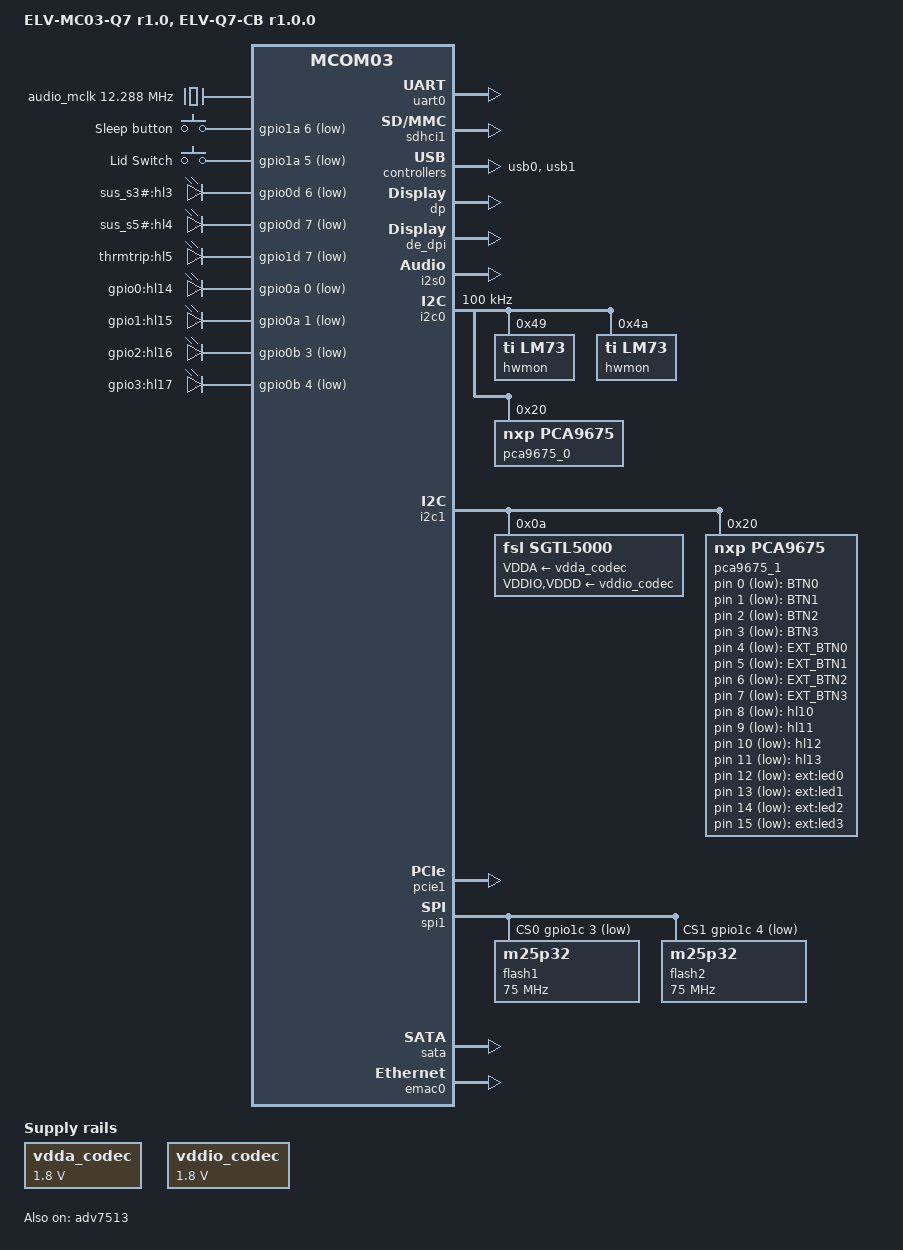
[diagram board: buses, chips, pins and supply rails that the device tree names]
// SPDX-License-Identifier: GPL-2.0+
/*
 * Copyright 2023 RnD Center "ELVEES", JSC
 */

/dts-v1/;

#include <dt-bindings/gpio/gpio.h>
#include <dt-bindings/input/linux-event-codes.h>

#include "mcom03-elvmc03q7-r1.0.dtsi"

/ {
	model = "ELV-MC03-Q7 r1.0, ELV-Q7-CB r1.0.0";
	compatible = "elvees,elvmc03q7-r1.0-elvq7cb-r1.0.0",
		     "elvees,elvmc03q7-elvq7cb",
		     "elvees,elvq7cb-r1.0.0",
		     "elvees,elvq7cb",
		     "elvees,elvmc03q7-r1.0",
		     "elvees,elvmc03q7",
		     "elvees,mcom03";

	chosen {
		stdout-path = "serial0:115200n8";
	};

	vdda_codec: vdda-codec {
		compatible = "regulator-fixed";
		regulator-name = "vdda-codec";
		regulator-min-microvolt = <1800000>;
		regulator-max-microvolt = <1800000>;
		regulator-always-on;
	};

	vddio_codec: vddio-codec {
		compatible = "regulator-fixed";
		regulator-name = "vddio-codec";
		regulator-min-microvolt = <1800000>;
		regulator-max-microvolt = <1800000>;
		regulator-always-on;
	};

	/* "G1" oscillator */
	audio_mclk: audio_mclk {
		#clock-cells = <0>;
		compatible = "fixed-clock";
		clock-frequency = <12288000>;
	};

	/* TRS (3.5mm jack) connected to SGTL5000 codec.
	   SGTL5000 connected to MCom-03 I2S0 as I2S slave.
	   */
	elvq7cb_i2s_asound {
		compatible = "simple-audio-card";
		simple-audio-card,name = "analog-audio";
		simple-audio-card,format = "i2s";
		simple-audio-card,bitclock-master = <&dailink0_master>;
		simple-audio-card,frame-master = <&dailink0_master>;
		simple-audio-card,routing =
			"MIC_IN", "Mic Bias";

		dailink0_master: simple-audio-card,cpu {
			sound-dai = <&i2s0>;
		};

		simple-audio-card,codec {
			sound-dai = <&sgtl5000>;
		};
	};

	q7cb-gpio-keys {
		compatible = "gpio-keys";
		pinctrl-0 = <&sleep_lid_cfg_default>;
		pinctrl-names = "default";
		poll-interval = <1000>;

		sleep-button {
			gpios = <&gpio1a 6 GPIO_ACTIVE_LOW>;
			label = "Sleep button";
			linux,code = <KEY_SLEEP>;
		};

		lid-switch {
			gpios = <&gpio1a 5 GPIO_ACTIVE_LOW>;
			label = "Lid Switch";
			linux,code = <SW_LID>;
			linux,input-type = <EV_SW>;
			wakeup-source;
		};
	};

	q7cb-leds {
		compatible = "gpio-leds";

		hl3 {
			label = "sus_s3#:hl3";
			gpios = <&gpio0d 6 GPIO_ACTIVE_LOW>;
			default-state = "off";
		};

		hl4 {
			label = "sus_s5#:hl4";
			gpios = <&gpio0d 7 GPIO_ACTIVE_LOW>;
			default-state = "off";
		};

		hl5 {
			label = "thrmtrip:hl5";
			gpios = <&gpio1d 7 GPIO_ACTIVE_LOW>;
			default-state = "off";
		};

		hl14 {
			label = "gpio0:hl14";
			gpios = <&gpio0a 0 GPIO_ACTIVE_LOW>;
			default-state = "off";
		};

		hl15 {
			label = "gpio1:hl15";
			gpios = <&gpio0a 1 GPIO_ACTIVE_LOW>;
			default-state = "off";
		};

		hl16 {
			label = "gpio2:hl16";
			gpios = <&gpio0b 3 GPIO_ACTIVE_LOW>;
			default-state = "off";
		};

		hl17 {
			label = "gpio3:hl17";
			gpios = <&gpio0b 4 GPIO_ACTIVE_LOW>;
			default-state = "off";
		};
	};

	pca9675-keys {
		compatible = "gpio-keys-polled";
		poll-interval = <100>;
		autorepeat;

		btn0 {
			gpios = <&pca9675_1 0 GPIO_ACTIVE_LOW>;
			label = "BTN0";
			linux,code = <BTN_TRIGGER_HAPPY1>;
		};

		btn1 {
			gpios = <&pca9675_1 1 GPIO_ACTIVE_LOW>;
			label = "BTN1";
			linux,code = <BTN_TRIGGER_HAPPY2>;
		};

		btn2 {
			gpios = <&pca9675_1 2 GPIO_ACTIVE_LOW>;
			label = "BTN2";
			linux,code = <BTN_TRIGGER_HAPPY3>;
		};

		btn3 {
			gpios = <&pca9675_1 3 GPIO_ACTIVE_LOW>;
			label = "BTN3";
			linux,code = <BTN_TRIGGER_HAPPY4>;
		};

		ext_btn0 {
			gpios = <&pca9675_1 4 GPIO_ACTIVE_LOW>;
			label = "EXT_BTN0";
			linux,code = <BTN_TRIGGER_HAPPY5>;
		};

		ext_btn1 {
			gpios = <&pca9675_1 5 GPIO_ACTIVE_LOW>;
			label = "EXT_BTN1";
			linux,code = <BTN_TRIGGER_HAPPY6>;
		};

		ext_btn2 {
			gpios = <&pca9675_1 6 GPIO_ACTIVE_LOW>;
			label = "EXT_BTN2";
			linux,code = <BTN_TRIGGER_HAPPY7>;
		};

		ext_btn3 {
			gpios = <&pca9675_1 7 GPIO_ACTIVE_LOW>;
			label = "EXT_BTN3";
			linux,code = <BTN_TRIGGER_HAPPY8>;
		};
	};

	pca9675-leds {
		compatible = "gpio-leds";

		hl10 {
			gpios = <&pca9675_1 8 GPIO_ACTIVE_LOW>;
			default-state = "off";
		};

		hl11 {
			gpios = <&pca9675_1 9 GPIO_ACTIVE_LOW>;
			default-state = "off";
		};

		hl12 {
			gpios = <&pca9675_1 10 GPIO_ACTIVE_LOW>;
			default-state = "off";
		};

		hl13 {
			gpios = <&pca9675_1 11 GPIO_ACTIVE_LOW>;
			default-state = "off";
		};

		ext_led0 {
			label = "ext:led0";
			gpios = <&pca9675_1 12 GPIO_ACTIVE_LOW>;
			default-state = "off";
		};

		ext_led1 {
			label = "ext:led1";
			gpios = <&pca9675_1 13 GPIO_ACTIVE_LOW>;
			default-state = "off";
		};

		ext_led2 {
			label = "ext:led2";
			gpios = <&pca9675_1 14 GPIO_ACTIVE_LOW>;
			default-state = "off";
		};

		ext_led3 {
			label = "ext:led3";
			gpios = <&pca9675_1 15 GPIO_ACTIVE_LOW>;
			default-state = "off";
		};
	};
};

&uart0 {
	status = "okay";
	clock-frequency = <27920454>;
};

&sdhci1 {
	status = "okay";

	/* Disable 1.8V support
	 * Disable SDR50, SDR104 and DDR50 support
	 */
	sdhci-caps-mask = <0x7 0x4000000>;
	sdhci-caps = <0x0 0x0>;
};

/* Connected to USB 2.0 (USB1) */
&usb0 {
	status = "okay";
};

/* Connected to USB 2.0 (USB0, USB2-3) */
&usb1 {
	status = "okay";
};

/* The board has a video output interface */
&dp {
	status = "okay";
};

/* Connected to HDMI plug */
&adv7513 {
	status = "okay";
};

&de_dpi {
	status = "okay";
};

&i2s0 {
	status = "okay";
};

&i2c0 {
	status = "okay";
	clock-frequency = <100000>;

	hwmon@49 {
		compatible = "ti,lm73";
		reg = <0x49>;
	};

	hwmon@4a {
		compatible = "ti,lm73";
		reg = <0x4a>;
	};

	/* I2C GPIO expander (PCA9675) */
	pca9675_0: gpio-expander@20 {
		compatible = "nxp,pca9675";
		reg = <0x20>;
		gpio-controller;
		#gpio-cells = <2>;

		gpio-line-names = "", "", "", "PCIe_PRSNT",
				  "", "I2C_OUT5", "I2C_OUT6", "I2C_OUT7",
				  "I2C_OUT10", "I2C_EXP_TP1", "I2C_EXP_TP2", "I2C_EXP_TP3",
				  "I2C_EXP_TP4", "I2C_EXP_TP5", "I2C_EXP_TP6", "I2C_EXP_TP7";
	};
};

&i2c1 {
	status = "okay";

	sgtl5000: codec@a {
		status = "okay";
		compatible = "fsl,sgtl5000";
		reg = <0x0a>;
		#sound-dai-cells = <0>;
		clocks = <&audio_mclk>;
		clock-names = "mclk";
		micbias-resistor-k-ohms = <2>;
		micbias-voltage-m-volts = <2250>;
		VDDA-supply = <&vdda_codec>;
		VDDIO-supply = <&vddio_codec>;
		VDDD-supply = <&vddio_codec>;
	};

	/* I2C GPIO expander (PCA9675) */
	pca9675_1: gpio-expander@20 {
		compatible = "nxp,pca9675";
		reg = <0x20>;
		gpio-controller;
		#gpio-cells = <2>;
	};
};

/* Connected to PCIe bridge */
&pcie1 {
	status = "okay";
};

&spi1 {
	status = "okay";
	num-cs = <2>;
	cs-gpios = <&gpio1c 3 GPIO_ACTIVE_LOW>, <&gpio1c 4 GPIO_ACTIVE_LOW>;

	flash1: m25p32@0 {
		#address-cells = <1>;
		#size-cells = <1>;
		compatible = "m25p32", "jedec,spi-nor";
		spi-max-frequency = <75000000>;
		reg = <0x0>;
	};

	flash2: m25p32@1 {
		#address-cells = <1>;
		#size-cells = <1>;
		compatible = "m25p32", "jedec,spi-nor";
		spi-max-frequency = <75000000>;
		reg = <0x1>;
	};
};

/* Connected to SATA plug */
&sata {
	status = "okay";
};

/* Connected to RJ-45 (XS1) */
&emac0 {
	status = "okay";
};

&lsperiph1_pinctrl {
	sleep_lid_cfg_default: gpioa1-sleep-lid-cfg {
		pins = "GPIOA_5", "GPIOA_6", "GPIOA_7";
		input-enable;
	};
};
